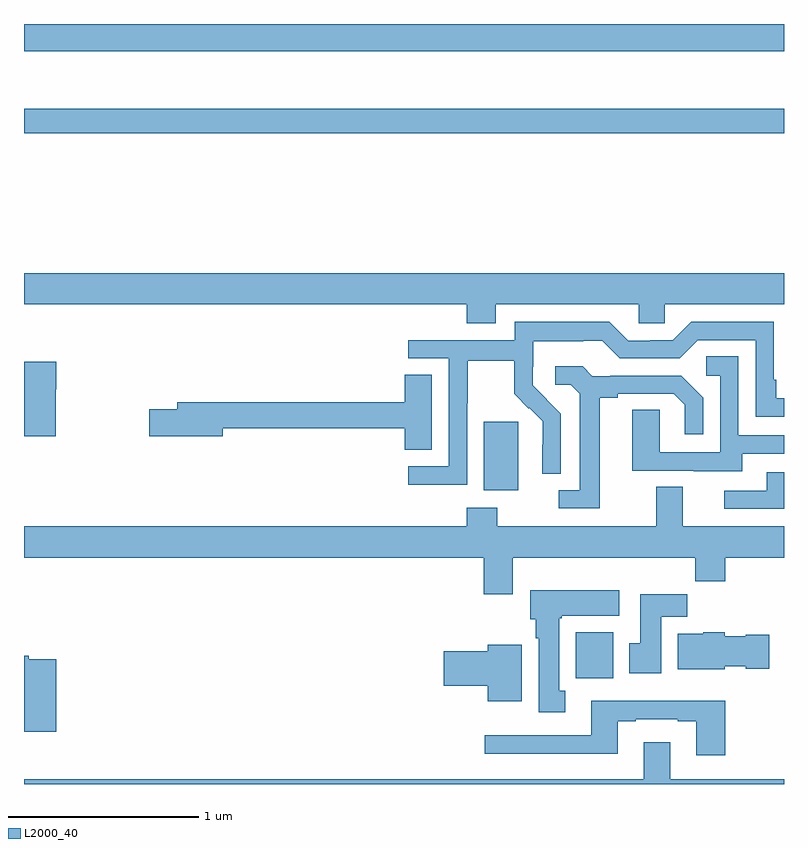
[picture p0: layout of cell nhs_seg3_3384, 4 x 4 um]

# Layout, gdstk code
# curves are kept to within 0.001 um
import gdstk
lib = gdstk.Library(unit=1e-6, precision=1e-09)
def R(c, l, rs):  # rectangles x0, y0, x1, y1
    for r in rs: c.add(gdstk.rectangle(r[:2], r[2:], *l))
def P(c, l, *ps):  # polygons
    for p in ps: c.add(gdstk.Polygon(p, *l))
L2000_40 = (2000, 40)

nhs_seg3_3384 = lib.new_cell('nhs_seg3_3384')
R(nhs_seg3_3384, L2000_40, [(289.904,690.956,290.101,691.198), (289.421,691.946,289.6,692.307), (287,693.826,291,693.955), (287,694.256,291,694.4)])
P(nhs_seg3_3384, L2000_40, [(289.483,692.924),(290.235,692.924),(290.235,692.826),(290.373,692.826),(290.373,692.924),(291,692.924),(291,693.088),(287,693.088),(287,692.924),(289.331,692.924),(289.331,692.825),(289.483,692.825)],
  [(289.332,692.404),(289.335,692.404),(289.335,692.628),(289.579,692.628),(289.579,692.453),(289.656,692.376),(289.659,692.379),(289.73,692.309),(289.73,692.186),(289.728,692.186),(289.728,692.032),(289.824,692.032),(289.824,692.35),(289.678,692.498),(289.678,692.595),(289.68,692.595),(289.68,692.729),(289.943,692.729),(289.943,692.733),(290.043,692.733),(290.136,692.64),(290.451,692.64),(290.547,692.736),(290.85,692.736),(290.85,692.334),(291,692.334),(291,692.43),(290.959,692.43),(290.959,692.527),(290.946,692.527),(290.946,692.832),(290.511,692.832),(290.415,692.736),(290.297,692.736),(290.297,692.733),(290.181,692.733),(290.081,692.833),(289.584,692.833),(289.584,692.736),(289.023,692.736),(289.023,692.64),(289.236,692.64),(289.236,692.073),(289.023,692.073),(289.023,691.975),(289.332,691.975)],
  [(290.779,692.139),(291,692.139),(291,692.235),(290.76,692.235),(290.76,692.651),(290.592,692.651),(290.592,692.55),(290.664,692.55),(290.664,692.145),(290.346,692.145),(290.346,692.369),(290.201,692.369),(290.201,692.049),(290.525,692.049),(290.525,692.045),(290.779,692.045)],
  [(287.166,692.477),(287.171,692.477),(287.171,692.623),(287,692.623),(287,692.229),(287.166,692.229)],
  [(290.029,692.432),(290.125,692.432),(290.125,692.454),(290.42,692.454),(290.477,692.397),(290.477,692.241),(290.574,692.241),(290.574,692.434),(290.458,692.55),(290.086,692.55),(290.086,692.547),(289.992,692.547),(289.94,692.599),(289.797,692.599),(289.797,692.502),(289.878,692.502),(289.925,692.455),(289.925,691.947),(289.815,691.947),(289.815,691.851),(290.029,691.851)],
  [(289.147,692.555),(289.004,692.555),(289.004,692.408),(287.807,692.408),(287.807,692.372),(287.658,692.372),(287.658,692.23),(288.046,692.23),(288.046,692.272),(289.004,692.272),(289.004,692.158),(289.147,692.158)],
  [(291,692.04),(290.909,692.04),(290.909,691.944),(290.685,691.944),(290.685,691.848),(291,691.848)],
  [(289.573,691.592),(290.533,691.592),(290.533,691.468),(290.69,691.468),(290.69,691.592),(291,691.592),(291,691.756),(290.467,691.756),(290.467,691.964),(290.327,691.964),(290.327,691.756),(289.491,691.756),(289.491,691.855),(289.331,691.855),(289.331,691.756),(287,691.756),(287,691.592),(289.421,691.592),(289.421,691.398),(289.573,691.398)],
  [(289.849,690.89),(289.816,690.89),(289.816,691.273),(289.83,691.273),(289.83,691.286),(290.134,691.286),(290.134,691.42),(289.664,691.42),(289.664,691.266),(289.694,691.266),(289.694,691.166),(289.709,691.166),(289.709,690.777),(289.849,690.777)],
  [(290.353,691.28),(290.492,691.28),(290.492,691.399),(290.243,691.399),(290.243,691.14),(290.186,691.14),(290.186,690.984),(290.353,690.984)],
  [(290.688,691.019),(290.799,691.019),(290.799,691.007),(290.923,691.007),(290.923,691.185),(290.799,691.185),(290.799,691.177),(290.688,691.177),(290.688,691.198),(290.574,691.198),(290.574,691.192),(290.441,691.192),(290.441,691.004),(290.688,691.004)],
  [(289.621,691.132),(289.442,691.132),(289.442,691.1),(289.209,691.1),(289.209,690.917),(289.442,690.917),(289.442,690.836),(289.621,690.836)],
  [(287.171,691.056),(287.024,691.056),(287.024,691.076),(287,691.076),(287,690.675),(287.171,690.675)],
  [(290.69,690.838),(289.985,690.838),(289.985,690.657),(289.425,690.657),(289.425,690.56),(290.125,690.56),(290.125,690.729),(290.221,690.729),(290.221,690.741),(290.441,690.741),(290.441,690.729),(290.537,690.729),(290.537,690.552),(290.69,690.552)],
  [(291,690.424),(290.401,690.424),(290.401,690.619),(290.261,690.619),(290.261,690.424),(287,690.424),(287,690.4),(291,690.4)])

lib.write_gds('nhs_seg3_3384.gds')
